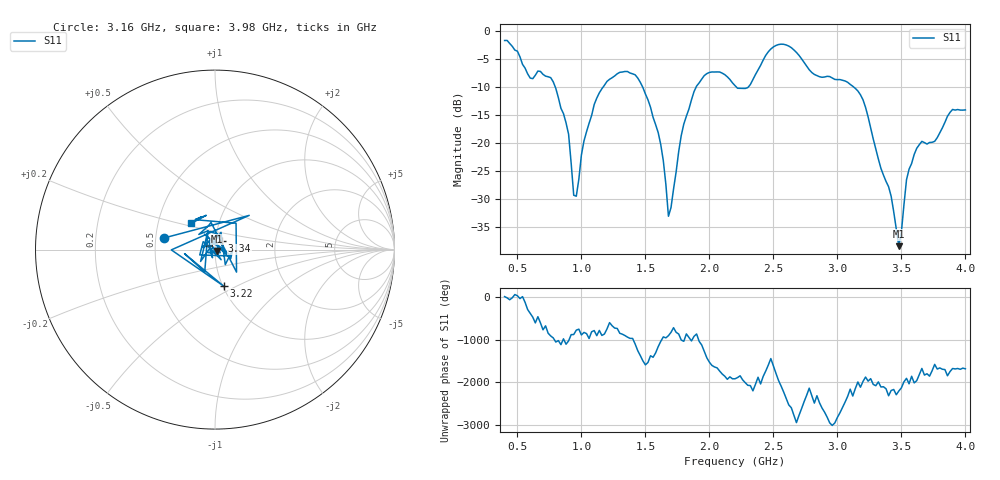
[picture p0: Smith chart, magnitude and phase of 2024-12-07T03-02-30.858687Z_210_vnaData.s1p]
!Created with skrf (http://scikit-rf.org).
# Hz S RI R 50.0
!freq ReS11 ImS11
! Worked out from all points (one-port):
!   181 points, 400 MHz to 4 GHz, reference 50 ohm
!   lowest |S11| = -38.3 dB at 3.48 GHz (marker M1), VSWR 1.02, Z = 50.9 - j0.843 ohm
!   |S11| at or under -10 dB: 795.7 MHz to 1.17 GHz (374.2 MHz wide, 38.1 % of centre); 1.478 GHz to 1.897 GHz (418.1 MHz wide, 24.8 % of centre); 3.127 GHz to end of sweep (the widest 3 of 4)
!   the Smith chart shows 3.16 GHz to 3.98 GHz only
!   S11 on the Smith chart (normalised r, x): 3.16 GHz: 0.55, +0.08; 3.22 GHz: 1.01, -0.43; 3.34 GHz: 1.07, +0.10; 3.98 GHz: 0.74, +0.22
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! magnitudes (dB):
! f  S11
! 400 MHz  -1.7
! 600 MHz  -8.4
! 760 MHz  -8.3
! 860 MHz  -14.7
! 900 MHz  -18.4
! 940 MHz  -29.3
! 960 MHz  -29.4
! 1.02 GHz  -19.6
! 1.1 GHz  -13.1
! 1.3 GHz  -7.4
! 1.42 GHz  -7.8
! 1.54 GHz  -13.6
! 1.62 GHz  -20.3
! 1.68 GHz  -33.0
! 1.76 GHz  -21.5
! 1.96 GHz  -8.0
! 2.2 GHz  -9.8
! 2.5 GHz  -2.9
! 2.66 GHz  -3.4
! 3.1 GHz  -9.5
! 3.16 GHz  -10.7
! 3.22 GHz  -13.6
! 3.34 GHz  -24.5
! 3.42 GHz  -29.4
! 3.48 GHz  -38.3
! 3.56 GHz  -24.6
! 3.98 GHz  -14.1
! 4 GHz  -14.1
